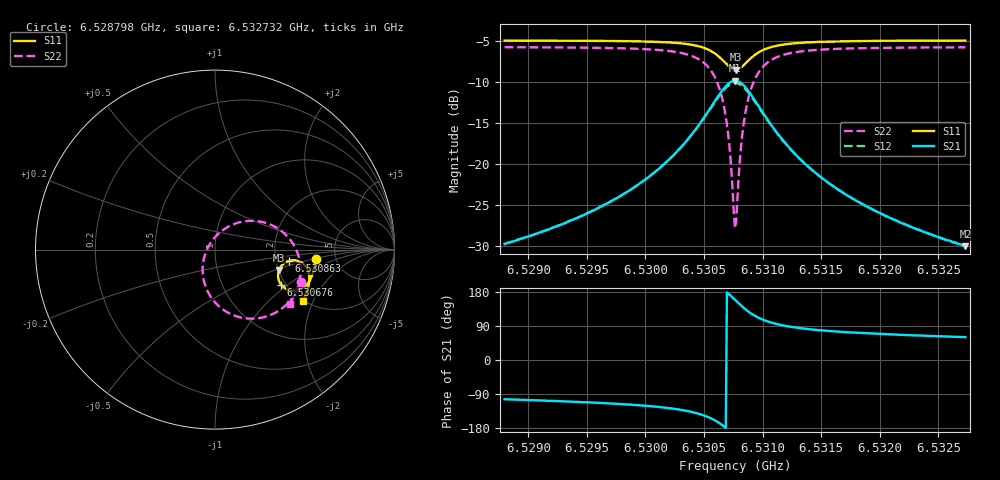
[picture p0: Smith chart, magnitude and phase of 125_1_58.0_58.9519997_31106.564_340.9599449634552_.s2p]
#  HZ  S  RI  R  50.00
! Rohde & Schwarz Vector Network Analyzer
! Rohde-Schwarz,ZNB20-2Port,1311601062101988,3.16
! Created: UTC 3/21/2024, 12:55:52 AM
! freq[Hz]  re:S11  im:S11  re:S21  im:S21  re:S12  im:S12  re:S22  im:S22
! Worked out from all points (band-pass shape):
!   401 points, 6.528798 GHz to 6.532732 GHz, reference 50 ohm
!   highest |S21| = -9.88 dB at 6.530765 GHz (marker M1); lowest = -30.0 dB at 6.532732 GHz (marker M2)
!   |S21| within 3 dB of the highest: 6.530569 GHz to 6.530962 GHz (393.7 kHz wide, 0.00603 % of centre)
!   lowest |S11| = -8.5 dB at 6.530775 GHz (marker M3), VSWR 2.20, Z = 101 - j26.5 ohm
!   |S11| at or under -10 dB: nowhere
!   |S22| runs from -27.8 to -5.8 dB; largest |S21 - S12| = 0.013
!   S11 on the Smith chart (normalised r, x): 6.528798 GHz: 3.48, -0.55; 6.530676 GHz: 1.89, -0.89; 6.530863 GHz: 2.36, -0.36; 6.532732 GHz: 1.98, -1.66
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6.5287978e9  0.5606 -0.0536  -0.00765 -0.0317  -0.00839 -0.0314  0.4804 -0.1826
6.5294567e9  0.5513 -0.1096  -0.0174 -0.0451  -0.0185 -0.0448  0.4481 -0.2449
6.5298206e9  0.5406 -0.1444  -0.0299 -0.059  -0.0313 -0.0582  0.4151 -0.2889
6.5301156e9  0.5241 -0.1777  -0.0523 -0.0775  -0.0546 -0.076  0.3637 -0.3344
6.5303418e9  0.4969 -0.2081  -0.0935 -0.0982  -0.0968 -0.0948  0.2794 -0.3744
6.530509e9  0.4518 -0.2282  -0.1647 -0.1055  -0.1673 -0.0984  0.1486 -0.3793
6.5306073e9  0.4051 -0.2231  -0.2377 -0.0784  -0.2368 -0.068  0.0268 -0.3196
6.5306762e9  0.3681 -0.1948  -0.2917 -0.0177  -0.2854 -0.00679  -0.0521 -0.2067
6.5307057e9  0.3565 -0.1737  -0.306 0.0226  -0.2971 0.0319  -0.0679 -0.1374
6.5307549e9  0.3522 -0.1305  -0.3041 0.1008  -0.2924 0.1056  -0.0491 -0.00957
6.5307647e9  0.3542 -0.1218  -0.299 0.1163  -0.287 0.1201  -0.0378 0.0148
6.5307745e9  0.3571 -0.1129  -0.2924 0.1311  -0.2805 0.134  -0.0242 0.0379
6.5307844e9  0.3607 -0.1049  -0.2845 0.1454  -0.2727 0.1471  -0.00838 0.0595
6.5308237e9  0.3828 -0.078  -0.2415 0.1911  -0.2315 0.1892  0.0705 0.1258
6.530863e9  0.4108 -0.0632  -0.1907 0.2154  -0.1833 0.2122  0.1588 0.1567
6.5309319e9  0.4559 -0.0618  -0.1119 0.2184  -0.1081 0.215  0.291 0.146
6.5310302e9  0.4958 -0.0835  -0.0438 0.1866  -0.0421 0.1848  0.4007 0.076
6.5311777e9  0.5195 -0.1199  -0.00256 0.1382  -0.00136 0.1374  0.4613 -0.0227
6.5314236e9  0.5265 -0.164  0.0153 0.0904  0.0163 0.0901  0.4768 -0.1229
6.5317186e9  0.5217 -0.2002  0.0185 0.062  0.0194 0.0617  0.4672 -0.1899
6.5320825e9  0.511 -0.2347  0.0179 0.0436  0.0187 0.0434  0.4493 -0.2411
6.5327316e9  0.4876 -0.2853  0.0157 0.0274  0.0162 0.0272  0.4156 -0.3011
